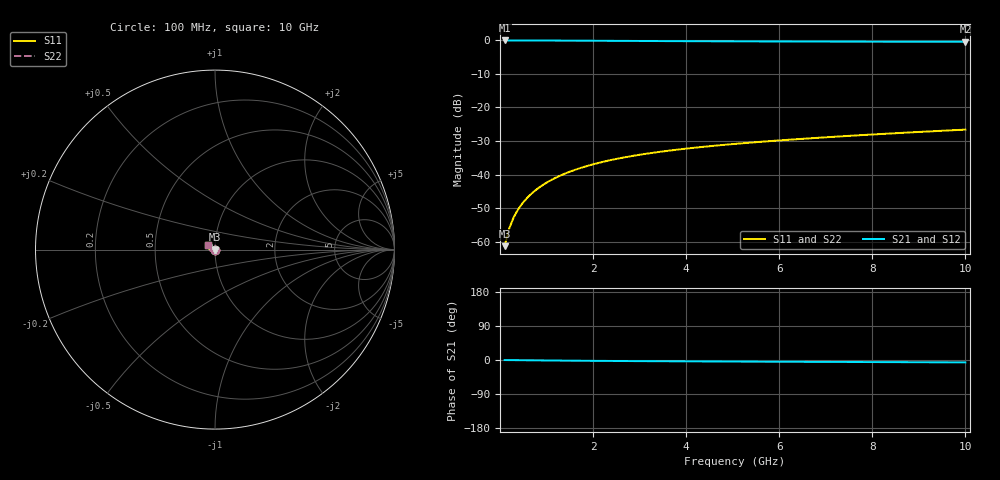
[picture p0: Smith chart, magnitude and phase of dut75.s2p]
! Touchstone file exported from HFSS 2024.1.0
!  File:  C:/UserFiles/LocalFiles/RDL_TSV_Batchsim/temp_TSV1_75_1779374429.aedt
!  Generated:  10:47:21 PM May 21, 2026
!  Design:  TSV1
!  Project:  temp_TSV1_75_1779374429
!  Setup:  Setup1
!  Solution:  Sweep
! Variables:
!  dtsv = 6.43um
!  hbump = 3um
!  htsv = 95.71um
!  lrdl = 252.1521522um
!  p = 40
!  p1 = 53.66um
!  t = 500um
!  trdl = 3um
!  wrdl = 24.89489489um
# GHz S MA R 50.000000
! Terminal data exported
! Port[1] = TSV22_T1
! Port[2] = TSV22_T2
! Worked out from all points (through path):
!   100 points, 100 MHz to 10 GHz, reference 50 ohm
!   highest |S21| = 0.00 dB at 100 MHz (marker M1); lowest = -0.4 dB at 10 GHz (marker M2)
!   lowest |S11| = -61.4 dB at 100 MHz (marker M3), VSWR 1.00, Z = 50 - j0.0776 ohm
!   |S11| at or under -10 dB: start of sweep to end of sweep
!   |S22| runs from -61.4 to -26.6 dB; largest |S21 - S12| = 7.1e-15
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0.1  0.0008538 -65.3  0.9996 -0.1  0.9996 -0.1  0.0008538 -65.3
! Gamma 0 0 0 0
! Port Impedance 50 0 50 0
0.2  0.001586 -80.3  0.9995 -0.2  0.9995 -0.2  0.001586 -80.3
0.3  0.002341 -87.2  0.9993 -0.4  0.9993 -0.4  0.002341 -87.2
0.4  0.003099 -91.8  0.9991 -0.5  0.9991 -0.5  0.003099 -91.8
0.5  0.003855 -95.5  0.9988 -0.6  0.9988 -0.6  0.003855 -95.5
0.6  0.004608 -98.6  0.9985 -0.7  0.9985 -0.7  0.004608 -98.6
0.7  0.005355 -101.5  0.9981 -0.9  0.9981 -0.9  0.005355 -101.5
0.8  0.006095 -104.2  0.9977 -1.0  0.9977 -1.0  0.006094 -104.2
0.9  0.006827 -106.8  0.9972 -1.1  0.9972 -1.1  0.006827 -106.8
1.1  0.008264 -111.7  0.9961 -1.3  0.9961 -1.3  0.008264 -111.7
1.4  0.01034 -118.5  0.9942 -1.6  0.9942 -1.6  0.01034 -118.5
1.6  0.01167 -122.9  0.9928 -1.8  0.9928 -1.8  0.01167 -122.9
1.8  0.01296 -127.0  0.9913 -2.0  0.9913 -2.0  0.01296 -127.0
2.1  0.01479 -133.0  0.989 -2.3  0.989 -2.3  0.01479 -133.0
2.5  0.01708 -140.4  0.9858 -2.6  0.9858 -2.6  0.01708 -140.4
2.9  0.0192 -147.3  0.9827 -2.9  0.9827 -2.9  0.0192 -147.3
3.4  0.02165 -155.2  0.979 -3.2  0.979 -3.2  0.02165 -155.2
4.2  0.02519 -166.5  0.9739 -3.7  0.9739 -3.7  0.02519 -166.5
5.1  0.02883 -177.3  0.9691 -4.1  0.9691 -4.1  0.02883 -177.3
6.7  0.03482 167.2  0.9629 -4.9  0.9629 -4.9  0.03482 167.2
8.4  0.04098 154.5  0.9584 -5.6  0.9584 -5.6  0.04098 154.5
10  0.04676 145.2  0.9554 -6.3  0.9554 -6.3  0.04676 145.2
